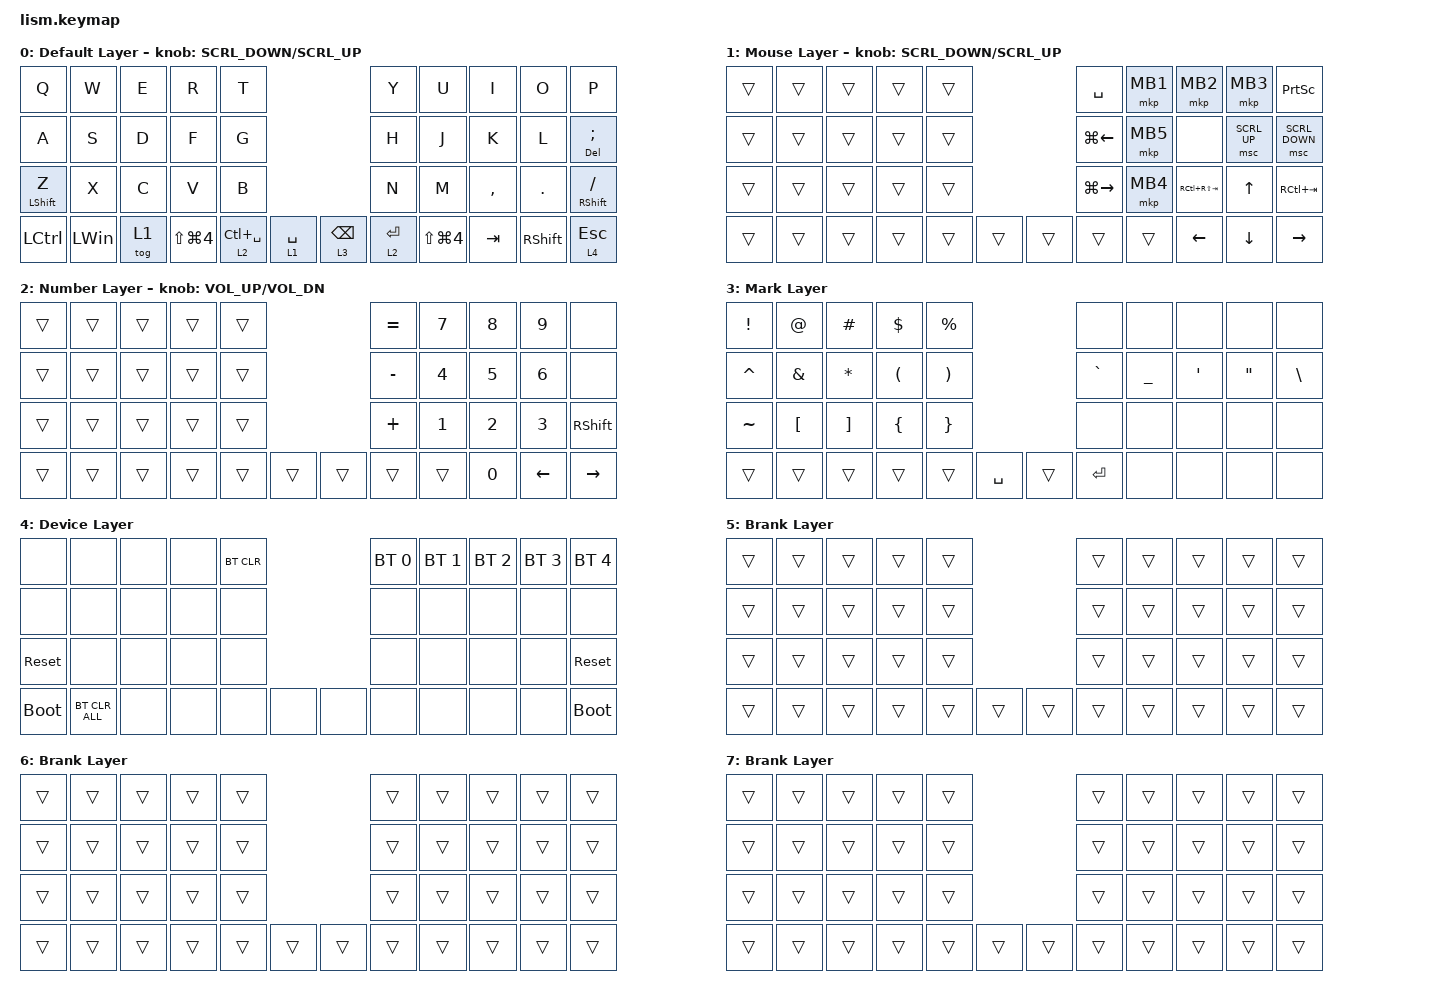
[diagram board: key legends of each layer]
#define ZMK_POINTING_DEFAULT_SCRL_VAL 200

#include <dt-bindings/zmk/mouse.h>
#include <behaviors.dtsi>
#include <dt-bindings/zmk/bt.h>
#include <dt-bindings/zmk/keys.h>
#include <dt-bindings/zmk/pointing.h>

&mt {
    tapping-term-ms = <300>;
    flavor = "balanced";
};

&lt { quick-tap-ms = <300>; };

/ {
    macros {
        emoji: emoji_macro {
            compatible = "zmk,behavior-macro";
            label = "EMOJI";
            #binding-cells = <0>;
            bindings =
                <&macro_press>,
                <&kp CAPSLOCK>,
                <&macro_tap>,
                <&kp E>,
                <&macro_release>,
                <&kp CAPSLOCK>;
        };
    };

    behaviors {
        encoder_msc: sensor_rotate_msc {
            compatible = "zmk,behavior-sensor-rotate-var";
            #sensor-binding-cells = <2>;
            bindings = <&msc>, <&msc>;

            tap-ms = <20>;
        };

        encoder_kp: sensor_rotate_kp {
            compatible = "zmk,behavior-sensor-rotate-var";
            #sensor-binding-cells = <2>;
            bindings = <&kp>, <&kp>;
        };
    };

    keymap {
        compatible = "zmk,keymap";

        default_layer {
            display-name = "Default Layer";
            bindings = <
&kp Q             &kp W         &kp E   &kp R           &kp T                                            &kp Y        &kp U           &kp I      &kp O            &kp P
&kp A             &kp S         &kp D   &kp F           &kp G                                            &kp H        &kp J           &kp K      &kp L            &mt DELETE SEMICOLON
&mt LEFT_SHIFT Z  &kp X         &kp C   &kp V           &kp B                                            &kp N        &kp M           &kp COMMA  &kp DOT          &mt RIGHT_SHIFT SLASH
&kp LEFT_CONTROL  &kp LEFT_WIN  &tog 1  &kp LS(LG(N4))  &lt 2 LC(SPACE)  &lt 1 SPACE    &lt 3 BACKSPACE  &lt 2 ENTER  &kp LS(LG(N4))  &kp TAB    &kp RIGHT_SHIFT  &lt 4 ESC
            >;

            sensor-bindings = <&encoder_msc SCRL_DOWN SCRL_UP>;
        };

        layer_1 {
            display-name = "Mouse Layer";
            bindings = <
&trans  &trans  &trans  &trans  &trans                    &kp SPACE            &mkp MB1  &mkp MB2         &mkp MB3        &kp PRINTSCREEN
&trans  &trans  &trans  &trans  &trans                    &kp LG(LEFT_ARROW)   &mkp MB5  &none            &msc SCRL_UP    &msc SCRL_DOWN
&trans  &trans  &trans  &trans  &trans                    &kp LG(RIGHT_ARROW)  &mkp MB4  &kp RC(RS(TAB))  &kp UP_ARROW    &kp RC(TAB)
&trans  &trans  &trans  &trans  &trans  &trans    &trans  &trans               &trans    &kp LEFT_ARROW   &kp DOWN_ARROW  &kp RIGHT_ARROW
            >;

            sensor-bindings = <&encoder_msc SCRL_DOWN SCRL_UP>;
        };

        layer_2 {
            display-name = "Number Layer";
            bindings = <
&trans  &trans  &trans  &trans  &trans                    &kp EQUAL  &kp N7        &kp N8        &kp N9          &none
&trans  &trans  &trans  &trans  &trans                    &kp MINUS  &kp NUMBER_4  &kp N5        &kp NUMBER_6    &none
&trans  &trans  &trans  &trans  &trans                    &kp PLUS   &kp NUMBER_1  &kp NUMBER_2  &kp NUMBER_3    &kp RSHIFT
&trans  &trans  &trans  &trans  &trans  &trans    &trans  &trans     &trans        &kp N0        &kp LEFT_ARROW  &kp RIGHT_ARROW
            >;

            sensor-bindings = <&encoder_kp C_VOL_UP C_VOL_DN>;
        };

        layer_3 {
            display-name = "Mark Layer";
            bindings = <
&kp EXCLAMATION  &kp AT_SIGN       &kp HASH           &kp DOLLAR            &kp PERCENT                                 &none      &none      &none             &none              &none
&kp CARET        &kp AMPERSAND     &kp ASTERISK       &kp LEFT_PARENTHESIS  &kp RIGHT_PARENTHESIS                       &kp GRAVE  &kp UNDER  &kp SINGLE_QUOTE  &kp DOUBLE_QUOTES  &kp BACKSLASH
&kp TILDE        &kp LEFT_BRACKET  &kp RIGHT_BRACKET  &kp LEFT_BRACE        &kp RIGHT_BRACE                             &none      &none      &none             &none              &none
&trans           &trans            &trans             &trans                &trans                 &kp SPACE    &trans  &kp ENTER  &none      &none             &none              &none
            >;
        };

        layer_4 {
            display-name = "Device Layer";
            bindings = <
&none        &none           &none  &none  &bt BT_CLR                  &bt BT_SEL 0  &bt BT_SEL 1  &bt BT_SEL 2  &bt BT_SEL 3  &bt BT_SEL 4
&none        &none           &none  &none  &none                       &none         &none         &none         &none         &none
&sys_reset   &none           &none  &none  &none                       &none         &none         &none         &none         &sys_reset
&bootloader  &bt BT_CLR_ALL  &none  &none  &none       &none    &none  &none         &none         &none         &none         &bootloader
            >;
        };

        layer_5 {
            display-name = "Brank Layer";
            bindings = <
&trans  &trans  &trans  &trans  &trans                    &trans  &trans  &trans  &trans  &trans
&trans  &trans  &trans  &trans  &trans                    &trans  &trans  &trans  &trans  &trans
&trans  &trans  &trans  &trans  &trans                    &trans  &trans  &trans  &trans  &trans
&trans  &trans  &trans  &trans  &trans  &trans    &trans  &trans  &trans  &trans  &trans  &trans
            >;
        };

        layer_6 {
            display-name = "Brank Layer";
            bindings = <
&trans  &trans  &trans  &trans  &trans                    &trans  &trans  &trans  &trans  &trans
&trans  &trans  &trans  &trans  &trans                    &trans  &trans  &trans  &trans  &trans
&trans  &trans  &trans  &trans  &trans                    &trans  &trans  &trans  &trans  &trans
&trans  &trans  &trans  &trans  &trans  &trans    &trans  &trans  &trans  &trans  &trans  &trans
            >;
        };

        layer_7 {
            display-name = "Brank Layer";
            bindings = <
&trans  &trans  &trans  &trans  &trans                    &trans  &trans  &trans  &trans  &trans
&trans  &trans  &trans  &trans  &trans                    &trans  &trans  &trans  &trans  &trans
&trans  &trans  &trans  &trans  &trans                    &trans  &trans  &trans  &trans  &trans
&trans  &trans  &trans  &trans  &trans  &trans    &trans  &trans  &trans  &trans  &trans  &trans
            >;
        };
    };
};
